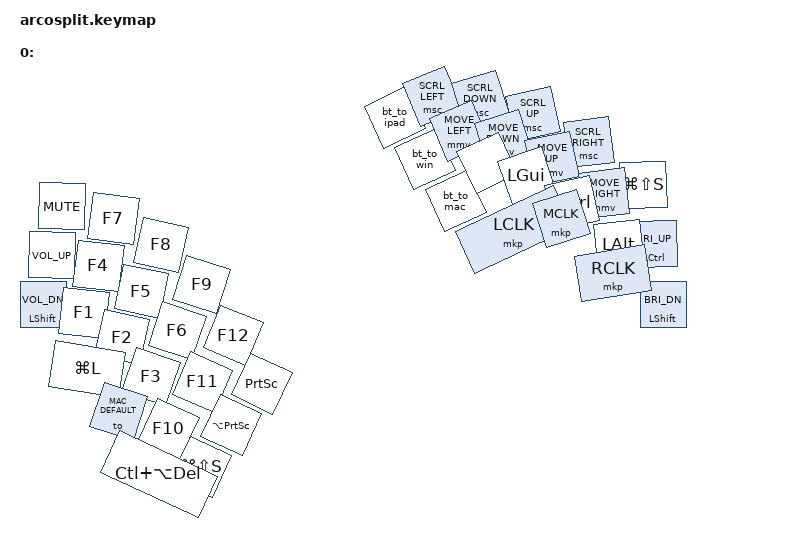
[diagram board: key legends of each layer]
/*
 * Copyright (c) 2021 The ZMK Contributors
 *
 * SPDX-License-Identifier: MIT
 */

#include <behaviors.dtsi>
#include <dt-bindings/zmk/bt.h>
#include <dt-bindings/zmk/keys.h>

#define MAC_DEFAULT 0
#define RAISE   1
#define LOWER   2
#define ADJUST  3
#define WIN_DEFAULT 4

#define BT_MAC  0
#define BT_WIN  1
#define BT_IPAD 2

#define LEFT_TOP      0  1  2  3  4  5
#define RIGHT_TOP     6  7  8  9 10 11
#define LEFT_MID     12 13 14 15 16 17
#define RIGHT_MID    18 19 20 21 22 23
#define LEFT_BOTTOM  24 25 26 27 28 29
#define RIGHT_BOTTOM 30 31 32 33 34 35
#define LEFT_THUMBS  36 37 38
#define RIGHT_THUMBS 39 40 41
#define LEFT_KEYS LEFT_TOP LEFT_MID LEFT_BOTTOM
#define RIGHT_KEYS RIGHT_TOP RIGHT_MID RIGHT_BOTTOM
#define THUMBS LEFT_THUMBS RIGHT_THUMBS

#define LSHORTCUT   LGUI

#define MY_N0       KP_N0
#define MY_N1       KP_N1
#define MY_N2       KP_N2
#define MY_N3       KP_N3
#define MY_N4       KP_N4
#define MY_N5       KP_N5
#define MY_N6       KP_N6
#define MY_N7       KP_N7
#define MY_N8       KP_N8
#define MY_N9       KP_N9
#define MY_PLUS     KP_PLUS
#define MY_MINUS    KP_MINUS
#define MY_MULTIPLY KP_MULTIPLY
#define MY_DIVIDE   KP_DIVIDE
#define MY_EQUAL    KP_EQUAL
#define MY_DOT      KP_DOT

#define CAPTURE_1   LG(LS(N3))
#define CAPTURE_2   LG(LS(N4))
#define CAPTURE_3   LG(LS(N5))
#define LOCK        &kp LG(LC(Q))
#define UNLOCK      &studio_unlock
#define SWITCH_OS   &to WIN_DEFAULT

#define LAYER(s) MAC_##s##_layer

&mt {
    quick-tap-ms = <180>;
};

/ {
    behaviors {
        mtb: mt_balanced {
            compatible = "zmk,behavior-hold-tap";
            #binding-cells = <2>;
            flavor = "balanced";
            tapping-term-ms = <200>;
            quick-tap-ms = <180>;
            bindings = <&kp>, <&kp>;
        };

        hml: home_row_mod_left {
            compatible = "zmk,behavior-hold-tap";
            #binding-cells = <2>;
            flavor = "balanced";
            require-prior-idle-ms = <150>;
            tapping-term-ms = <400>;
            quick-tap-ms = <180>;
            bindings = <&kp>, <&kp>;
            hold-trigger-key-positions = <THUMBS RIGHT_KEYS>;
            hold-trigger-on-release;
        };

        hmr: home_row_mod_right {
            compatible = "zmk,behavior-hold-tap";
            #binding-cells = <2>;
            flavor = "balanced";
            require-prior-idle-ms = <150>;
            tapping-term-ms = <400>;
            quick-tap-ms = <180>;
            bindings = <&kp>, <&kp>;
            hold-trigger-key-positions = <THUMBS LEFT_KEYS>;
            hold-trigger-on-release;
        };

        ht_tp: hold_tap_tap_preferred {
            compatible = "zmk,behavior-hold-tap";
            label = "HOLD_TAP_TAP_PREFERRSED";
            #binding-cells = <2>;
            flavor = "tap-preferred";
            tapping-term-ms = <200>;
            quick-tap-ms = <0>;
            bindings = <&kp>, <&kp>;
        };
    };

    combo {
        compatible = "zmk,combos";
        combo_capsword {
            timeout-ms = <50>;
            key-positions = <24 35>;
            bindings = <&caps_word>;
        };
    };

    macro {
        bt_to_mac: bt_to_mac {
            label = "bt_to_mac_macro";
            compatible = "zmk,behavior-macro";
            #binding-cells = <0>;
            wait-ms = <0>;
            tap-ms = <0>;
            bindings = <&to MAC_DEFAULT>, <&bt BT_SEL BT_MAC>;
        };

        bt_to_win: bt_to_win {
            label = "bt_to_win_macro";
            compatible = "zmk,behavior-macro";
            #binding-cells = <0>;
            wait-ms = <0>;
            tap-ms = <0>;
            bindings = <&to WIN_DEFAULT>, <&bt BT_SEL BT_WIN>;
        };

        bt_to_ipad: bt_to_ipad {
            label = "bt_to_ipad_macro";
            compatible = "zmk,behavior-macro";
            #binding-cells = <0>;
            wait-ms = <0>;
            tap-ms = <0>;
            bindings = <&to MAC_DEFAULT>, <&bt BT_SEL BT_IPAD>;
        };
    };

    keymap {
        compatible = "zmk,keymap";

        LAYER(default) {
            bindings = <
//╭────────────────┬────────────────┬────────────────┬────────────────┬────────────────┬────────────────╮    ╭────────────────┬────────────────┬────────────────┬────────────────┬────────────────┬────────────────╮
//|  Q             |  W             |  E             |  R             |  T             |                |    |                |  Y             |  U             |  I             | O              |  P             |
  &kp Q            &kp W            &kp E            &kp R            &kp T            &mo RAISE             &mo RAISE        &kp Y            &kp U            &kp I            &kp O            &kp P
//├────────────────┼────────────────┼────────────────┼────────────────┼────────────────┼────────────────┤    ├────────────────┼────────────────┼────────────────┼────────────────┼────────────────┼────────────────┤
//|  A             |  S             |  D             |  F             |  G             |                |    |                |  H             |  J             |  K             | L              |  ;             |
  &kp A            &hml LALT S      &hml LCTRL D     &hml LGUI F      &kp G            &mo ADJUST            &mo ADJUST       &kp H            &kp J            &kp K            &kp L            &mt RCTRL SEMI
//├────────────────┼────────────────┼────────────────┼────────────────┼────────────────┼────────────────┤    ├────────────────┼────────────────┼────────────────┼────────────────┼────────────────┼────────────────┤
//|  Z             |  X             |  C             |  V             |  B             |                |    |                |  N             |  M             |  ,             | .              |  /             |
  &mtb LSHFT Z     &kp X            &kp C            &kp V            &kp B            &mo LOWER             &mo LOWER        &kp N            &kp M            &kp COMMA        &mtb RALT DOT    &mtb RSHFT FSLH
//╰────────────────┴────────────────┴────────────────┼────────────────┼────────────────┤────────────────┼    ╰────────────────┴────────────────┴────────────────┼────────────────┴────────────────┴────────────────╯
                                                     &kp ESC          &mo LOWER        &mt LSHORTCUT TAB     &mtb RSHFT SPACE &mo RAISE        &kp RGUI
//                                                   ╰────────────────┴────────────────┴────────────────╯    ╰────────────────┴────────────────┴────────────────╯
            >;
        };

        LAYER(raise) {
            bindings = <
//╭────────────────┬────────────────┬────────────────┬────────────────┬────────────────┬────────────────╮    ╭────────────────┬────────────────┬────────────────┬────────────────┬────────────────┬────────────────╮
//|  /             |  7             |  8             |  9             |  -             |                |    |                |                |                |                |                |  -             |
  &kp MY_DIVIDE    &kp MY_N7        &kp MY_N8        &kp MY_N9        &kp MY_MINUS     &trans                &bootloader      &none            &kp BSPC         &kp DEL          &kp TAB          &kp MINUS
//├────────────────┼────────────────┼────────────────┼────────────────┼────────────────┼────────────────┤    ├────────────────┼────────────────┼────────────────┼────────────────┼────────────────┼────────────────┤
//|  *             |  4             |  5             |  5             |  6             |                |    |                |                |                |                |                |                |
  &kp MY_MULTIPLY  &hml LALT MY_N4  &hml LCTRL MY_N5 &hml LGUI MY_N6  &kp MY_PLUS      &trans                &trans           &kp LEFT         &kp DOWN         &kp UP           &kp RIGHT        &mt RCTRL RET
//├────────────────┼────────────────┼────────────────┼────────────────┼────────────────┼────────────────┤    ├────────────────┼────────────────┼────────────────┼────────────────┼────────────────┼────────────────┤
//|  0             |  1             |  2             |  3             |  =             |                |    |                |                |                |                |                |                |
  &mtb LSHFT MY_N0 &kp MY_N1        &kp MY_N2        &kp MY_N3        &kp MY_EQUAL     &trans                &trans           &kp HOME         &kp PG_DN        &kp PG_UP        &mtb RALT END    &kp RSHFT
//╰────────────────┴────────────────┴────────────────┼────────────────┼────────────────┤────────────────┼    ╰────────────────┴────────────────┴────────────────┼────────────────┴────────────────┴────────────────╯
                                                     &kp SPACE        &lt ADJUST MY_DOT &mt LSHORTCUT BSPC   &none            &none            &trans
//                                                   ╰────────────────┴────────────────┴────────────────╯    ╰────────────────┴────────────────┴────────────────╯
            >;
        };

        LAYER(lower) {
            bindings = <
//╭────────────────┬────────────────┬────────────────┬────────────────┬────────────────┬────────────────╮    ╭────────────────┬────────────────┬────────────────┬────────────────┬────────────────┬────────────────╮
//|  ?             |  "             |  !             |                |  ~             |                |    |                |                |  _             |  (             |  )             |  %             |
  &kp QMARK        &kp DQT          &kp EXCL         &kp BSPC         &kp TILDE        &bootloader           &mo RAISE        &none            &kp UNDER        &kp LPAR         &kp RPAR         &kp PRCNT
//├────────────────┼────────────────┼────────────────┼────────────────┼────────────────┼────────────────┤    ├────────────────┼────────────────┼────────────────┼────────────────┼────────────────┼────────────────┤
//|  @             |  '             |  $             |                |  /             |                |    |                |  #             |                |  [             |  ]             |                |
  &kp AT           &kp SQT          &kp DLLR         &kp DEL          &kp FSLH         &trans                &trans           &kp HASH         &none            &kp LBKT         &kp RBKT         &kp RCTRL
//├────────────────┼────────────────┼────────────────┼────────────────┼────────────────┼────────────────┤    ├────────────────┼────────────────┼────────────────┼────────────────┼────────────────┼────────────────┤
//|                |  `             |  ^             |  |             |  \             |                |    |                |  &             |                |  {             |  }             |                |
  &mtb LSHFT RET   &kp GRAVE        &kp CARET        &kp PIPE         &kp BSLH         &trans                &trans           &kp AMPS         &none            &kp LBRC         &kp RBRC         &kp RSHFT
//╰────────────────┴────────────────┴────────────────┼────────────────┼────────────────┤────────────────┼    ╰────────────────┴────────────────┴────────────────┼────────────────┴────────────────┴────────────────╯
                                                     &kp SPACE        &none            &none                 &mtb RSHFT RET   &mo ADJUST       &trans
//                                                   ╰────────────────┴────────────────┴────────────────╯    ╰────────────────┴────────────────┴────────────────╯
            >;
        };

        LAYER(adjust) {
            bindings = <
//╭────────────────┬────────────────┬────────────────┬────────────────┬────────────────┬────────────────╮    ╭────────────────┬────────────────┬────────────────┬────────────────┬────────────────┬────────────────╮
//|                |  F7            |  F8            |  F9            |  F12           |                |    |                |                |                |                |                |                |
  &kp C_MUTE       &kp F7           &kp F8           &kp F9           &kp F12          &kp CAPTURE_1         &bt_to_ipad      &msc SCRL_LEFT   &msc SCRL_DOWN   &msc SCRL_UP     &msc SCRL_RIGHT  &kp CAPTURE_3
//├────────────────┼────────────────┼────────────────┼────────────────┼────────────────┼────────────────┤    ├────────────────┼────────────────┼────────────────┼────────────────┼────────────────┼────────────────┤
//|                |  F4            |  F5            |  F6            |  F11           |                |    |                |                |                |                |                |                |
  &kp C_VOL_UP     &kp F4           &kp F5           &kp F6           &kp F11          &kp CAPTURE_2         &bt_to_win       &mmv MOVE_LEFT   &mmv MOVE_DOWN   &mmv MOVE_UP     &mmv MOVE_RIGHT  &mtb RCTRL C_BRI_UP
//├────────────────┼────────────────┼────────────────┼────────────────┼────────────────┼────────────────┤    ├────────────────┼────────────────┼────────────────┼────────────────┼────────────────┼────────────────┤
//|                |  F1            |  F2            |  F3            |  F10           |                |    |                |                |                |                |                |                |
  &mtb LSHFT C_VOL_DN &kp F1        &kp F2           &kp F3           &kp F10          &kp CAPTURE_3         &bt_to_mac       &none            &kp LGUI         &kp LCTRL        &kp LALT         &mtb LSHFT C_BRI_DN
//╰────────────────┴────────────────┴────────────────┼────────────────┼────────────────┤────────────────┼    ╰────────────────┴────────────────┴────────────────┼────────────────┴────────────────┴────────────────╯
                                                     LOCK             SWITCH_OS        UNLOCK                &mkp LCLK        &mkp MCLK        &mkp RCLK
//                                                   ╰────────────────┴────────────────┴────────────────╯    ╰────────────────┴────────────────┴────────────────╯
            >;
        };

#undef RAISE
#undef LOWER
#undef ADJUST
#undef LSHORTCUT

#define RAISE     5
#define LOWER     6
#define ADJUST    7
#define LSHORTCUT LCTRL

#undef MY_N0
#undef MY_N1
#undef MY_N2
#undef MY_N3
#undef MY_N4
#undef MY_N5
#undef MY_N6
#undef MY_N7
#undef MY_N8
#undef MY_N9
#undef MY_PLUS
#undef MY_MINUS
#undef MY_MULTIPLY
#undef MY_DIVIDE
#undef MY_EQUAL
#undef MY_DOT

#define MY_N0       N0
#define MY_N1       N1
#define MY_N2       N2
#define MY_N3       N3
#define MY_N4       N4
#define MY_N5       N5
#define MY_N6       N6
#define MY_N7       N7
#define MY_N8       N8
#define MY_N9       N9
#define MY_PLUS     PLUS
#define MY_MINUS    MINUS
#define MY_MULTIPLY ASTERISK
#define MY_DIVIDE   SLASH
#define MY_EQUAL    EQUAL
#define MY_DOT      DOT

#undef CAPTURE_1
#undef CAPTURE_2
#undef CAPTURE_3
#undef LOCK
#undef UNLOCK
#undef SWITCH_OS

#define CAPTURE_1 PRINTSCREEN
#define CAPTURE_2 LA(PRINTSCREEN)
#define CAPTURE_3 LG(LS(S))
#define LOCK      &kp LG(L)
#define UNLOCK    &kp LC(LA(DELETE))
#define SWITCH_OS &to MAC_DEFAULT

#undef LAYER
#define LAYER(s) WIN_##s##_layer

        LAYER(default) {
            bindings = <
//╭────────────────┬────────────────┬────────────────┬────────────────┬────────────────┬────────────────╮    ╭────────────────┬────────────────┬────────────────┬────────────────┬────────────────┬────────────────╮
//|  Q             |  W             |  E             |  R             |  T             |                |    |                |  Y             |  U             |  I             | O              |  P             |
  &kp Q            &kp W            &kp E            &kp R            &kp T            &mo RAISE             &mo RAISE        &kp Y            &kp U            &kp I            &kp O            &kp P
//├────────────────┼────────────────┼────────────────┼────────────────┼────────────────┼────────────────┤    ├────────────────┼────────────────┼────────────────┼────────────────┼────────────────┼────────────────┤
//|  A             |  S             |  D             |  F             |  G             |                |    |                |  H             |  J             |  K             | L              |  ;             |
  &kp A            &hml LALT S      &hml LCTRL D     &hml LGUI F      &kp G            &mo ADJUST            &mo ADJUST       &kp H            &kp J            &kp K            &kp L            &mt RCTRL SEMI
//├────────────────┼────────────────┼────────────────┼────────────────┼────────────────┼────────────────┤    ├────────────────┼────────────────┼────────────────┼────────────────┼────────────────┼────────────────┤
//|  Z             |  X             |  C             |  V             |  B             |                |    |                |  N             |  M             |  ,             | .              |  /             |
  &mtb LSHFT Z     &kp X            &kp C            &kp V            &kp B            &mo LOWER             &mo LOWER        &kp N            &kp M            &kp COMMA        &mtb RALT DOT    &mtb RSHFT FSLH
//╰────────────────┴────────────────┴────────────────┼────────────────┼────────────────┤────────────────┼    ╰────────────────┴────────────────┴────────────────┼────────────────┴────────────────┴────────────────╯
                                                     &kp ESC          &mo LOWER        &mt LSHORTCUT TAB     &mtb RSHFT SPACE &mo RAISE        &kp RGUI
//                                                   ╰────────────────┴────────────────┴────────────────╯    ╰────────────────┴────────────────┴────────────────╯
            >;
        };

        LAYER(raise) {
            bindings = <
//╭────────────────┬────────────────┬────────────────┬────────────────┬────────────────┬────────────────╮    ╭────────────────┬────────────────┬────────────────┬────────────────┬────────────────┬────────────────╮
//|  /             |  7             |  8             |  9             |  -             |                |    |                |                |                |                |                |  -             |
  &kp MY_DIVIDE    &kp MY_N7        &kp MY_N8        &kp MY_N9        &kp MY_MINUS     &trans                &bootloader      &none            &kp BSPC         &kp DEL          &kp TAB          &kp MINUS
//├────────────────┼────────────────┼────────────────┼────────────────┼────────────────┼────────────────┤    ├────────────────┼────────────────┼────────────────┼────────────────┼────────────────┼────────────────┤
//|  *             |  4             |  5             |  5             |  6             |                |    |                |                |                |                |                |                |
  &kp MY_MULTIPLY  &hml LALT MY_N4  &hml LCTRL MY_N5 &hml LGUI MY_N6  &kp MY_PLUS      &trans                &trans           &kp LEFT         &kp DOWN         &kp UP           &kp RIGHT        &mt RCTRL RET
//├────────────────┼────────────────┼────────────────┼────────────────┼────────────────┼────────────────┤    ├────────────────┼────────────────┼────────────────┼────────────────┼────────────────┼────────────────┤
//|  0             |  1             |  2             |  3             |  =             |                |    |                |                |                |                |                |                |
  &mtb LSHFT MY_N0 &kp MY_N1        &kp MY_N2        &kp MY_N3        &kp MY_EQUAL     &trans                &trans           &kp HOME         &kp PG_DN        &kp PG_UP        &mtb RALT END    &kp RSHFT
//╰────────────────┴────────────────┴────────────────┼────────────────┼────────────────┤────────────────┼    ╰────────────────┴────────────────┴────────────────┼────────────────┴────────────────┴────────────────╯
                                                     &kp SPACE        &lt ADJUST MY_DOT &mt LSHORTCUT BSPC   &none            &none            &trans
//                                                   ╰────────────────┴────────────────┴────────────────╯    ╰────────────────┴────────────────┴────────────────╯
            >;
        };

        LAYER(lower) {
            bindings = <
//╭────────────────┬────────────────┬────────────────┬────────────────┬────────────────┬────────────────╮    ╭────────────────┬────────────────┬────────────────┬────────────────┬────────────────┬────────────────╮
//|  ?             |  "             |  !             |                |  ~             |                |    |                |                |  _             |  (             |  )             |  %             |
  &kp QMARK        &kp DQT          &kp EXCL         &kp BSPC         &kp TILDE        &bootloader           &mo RAISE        &none            &kp UNDER        &kp LPAR         &kp RPAR         &kp PRCNT
//├────────────────┼────────────────┼────────────────┼────────────────┼────────────────┼────────────────┤    ├────────────────┼────────────────┼────────────────┼────────────────┼────────────────┼────────────────┤
//|  @             |  '             |  $             |                |  /             |                |    |                |  #             |                |  [             |  ]             |                |
  &kp AT           &kp SQT          &kp DLLR         &kp DEL          &kp FSLH         &trans                &trans           &kp HASH         &none            &kp LBKT         &kp RBKT         &kp RCTRL
//├────────────────┼────────────────┼────────────────┼────────────────┼────────────────┼────────────────┤    ├────────────────┼────────────────┼────────────────┼────────────────┼────────────────┼────────────────┤
//|                |  `             |  ^             |  |             |  \             |                |    |                |  &             |                |  {             |  }             |                |
  &mtb LSHFT RET   &kp GRAVE        &kp CARET        &kp PIPE         &kp BSLH         &trans                &trans           &kp AMPS         &none            &kp LBRC         &kp RBRC         &kp RSHFT
//╰────────────────┴────────────────┴────────────────┼────────────────┼────────────────┤────────────────┼    ╰────────────────┴────────────────┴────────────────┼────────────────┴────────────────┴────────────────╯
                                                     &kp SPACE        &none            &none                 &mtb RSHFT RET   &mo ADJUST       &trans
//                                                   ╰────────────────┴────────────────┴────────────────╯    ╰────────────────┴────────────────┴────────────────╯
            >;
        };

        LAYER(adjust) {
            bindings = <
//╭────────────────┬────────────────┬────────────────┬────────────────┬────────────────┬────────────────╮    ╭────────────────┬────────────────┬────────────────┬────────────────┬────────────────┬────────────────╮
//|                |  F7            |  F8            |  F9            |  F12           |                |    |                |                |                |                |                |                |
  &kp C_MUTE       &kp F7           &kp F8           &kp F9           &kp F12          &kp CAPTURE_1         &bt_to_ipad      &msc SCRL_LEFT   &msc SCRL_DOWN   &msc SCRL_UP     &msc SCRL_RIGHT  &kp CAPTURE_3
//├────────────────┼────────────────┼────────────────┼────────────────┼────────────────┼────────────────┤    ├────────────────┼────────────────┼────────────────┼────────────────┼────────────────┼────────────────┤
//|                |  F4            |  F5            |  F6            |  F11           |                |    |                |                |                |                |                |                |
  &kp C_VOL_UP     &kp F4           &kp F5           &kp F6           &kp F11          &kp CAPTURE_2         &bt_to_win       &mmv MOVE_LEFT   &mmv MOVE_DOWN   &mmv MOVE_UP     &mmv MOVE_RIGHT  &mtb RCTRL C_BRI_UP
//├────────────────┼────────────────┼────────────────┼────────────────┼────────────────┼────────────────┤    ├────────────────┼────────────────┼────────────────┼────────────────┼────────────────┼────────────────┤
//|                |  F1            |  F2            |  F3            |  F10           |                |    |                |                |                |                |                |                |
  &mtb LSHFT C_VOL_DN &kp F1        &kp F2           &kp F3           &kp F10          &kp CAPTURE_3         &bt_to_mac       &none            &kp LGUI         &kp LCTRL        &kp LALT         &mtb LSHFT C_BRI_DN
//╰────────────────┴────────────────┴────────────────┼────────────────┼────────────────┤────────────────┼    ╰────────────────┴────────────────┴────────────────┼────────────────┴────────────────┴────────────────╯
                                                     LOCK             SWITCH_OS        UNLOCK                &mkp LCLK        &mkp MCLK        &mkp RCLK
//                                                   ╰────────────────┴────────────────┴────────────────╯    ╰────────────────┴────────────────┴────────────────╯
            >;
        };
    };
};
